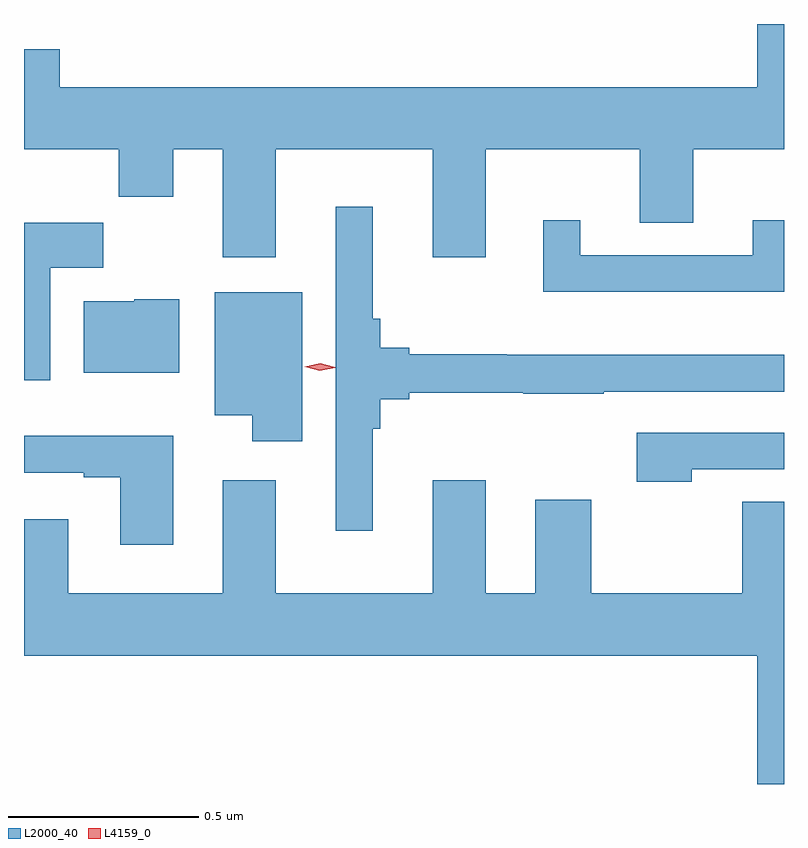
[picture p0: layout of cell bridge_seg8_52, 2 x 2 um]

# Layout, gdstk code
import gdstk
lib = gdstk.Library(unit=1e-6, precision=1e-09)
def P(c, l, *ps):  # polygons
    for p in ps: c.add(gdstk.Polygon(p, *l))
L2000_40 = (2000, 40)
L4159_0 = (4159, 0)

bridge_seg8_52 = lib.new_cell('bridge_seg8_52')
P(bridge_seg8_52, L2000_40, [(1086.817,1117.832),(1087.229,1117.832),(1087.229,1117.548),(1087.369,1117.548),(1087.369,1117.832),(1087.775,1117.832),(1087.775,1117.639),(1087.915,1117.639),(1087.915,1117.832),(1088.154,1117.832),(1088.154,1118.162),(1088.084,1118.162),(1088.084,1117.996),(1086.248,1117.996),(1086.248,1118.095),(1086.154,1118.095),(1086.154,1117.832),(1086.403,1117.832),(1086.403,1117.708),(1086.547,1117.708),(1086.547,1117.832),(1086.677,1117.832),(1086.677,1117.548),(1086.817,1117.548)],
  [(1087.072,1117.097),(1087.091,1117.097),(1087.091,1117.174),(1087.168,1117.174),(1087.168,1117.192),(1087.468,1117.192),(1087.468,1117.189),(1087.679,1117.189),(1087.679,1117.194),(1088.154,1117.194),(1088.154,1117.291),(1087.424,1117.291),(1087.424,1117.293),(1087.168,1117.293),(1087.168,1117.31),(1087.091,1117.31),(1087.091,1117.387),(1087.072,1117.387),(1087.072,1117.681),(1086.975,1117.681),(1086.975,1116.828),(1087.072,1116.828)],
  [(1088.154,1117.645),(1088.072,1117.645),(1088.072,1117.554),(1087.618,1117.554),(1087.618,1117.645),(1087.52,1117.645),(1087.52,1117.457),(1088.154,1117.457)],
  [(1086.223,1117.52),(1086.362,1117.52),(1086.362,1117.639),(1086.154,1117.639),(1086.154,1117.224),(1086.223,1117.224)],
  [(1086.886,1117.456),(1086.656,1117.456),(1086.656,1117.133),(1086.755,1117.133),(1086.755,1117.064),(1086.886,1117.064)],
  [(1086.562,1117.438),(1086.444,1117.438),(1086.444,1117.432),(1086.311,1117.432),(1086.311,1117.244),(1086.562,1117.244)],
  [(1087.911,1116.99),(1088.154,1116.99),(1088.154,1117.086),(1087.767,1117.086),(1087.767,1116.958),(1087.911,1116.958)],
  [(1086.547,1117.078),(1086.154,1117.078),(1086.154,1116.981),(1086.311,1116.981),(1086.311,1116.969),(1086.407,1116.969),(1086.407,1116.792),(1086.547,1116.792)],
  [(1088.154,1116.905),(1088.044,1116.905),(1088.044,1116.664),(1087.647,1116.664),(1087.647,1116.91),(1087.499,1116.91),(1087.499,1116.664),(1087.369,1116.664),(1087.369,1116.961),(1087.229,1116.961),(1087.229,1116.664),(1086.817,1116.664),(1086.817,1116.961),(1086.677,1116.961),(1086.677,1116.664),(1086.271,1116.664),(1086.271,1116.859),(1086.154,1116.859),(1086.154,1116.5),(1088.084,1116.5),(1088.084,1116.162),(1088.154,1116.162)])
P(bridge_seg8_52, L4159_0, [(1086.932,1117.249),(1086.893,1117.26),(1086.892,1117.26),(1086.893,1117.26),(1086.933,1117.269),(1086.973,1117.259),(1086.973,1117.258),(1086.973,1117.258)])

lib.write_gds('bridge_seg8_52.gds')
